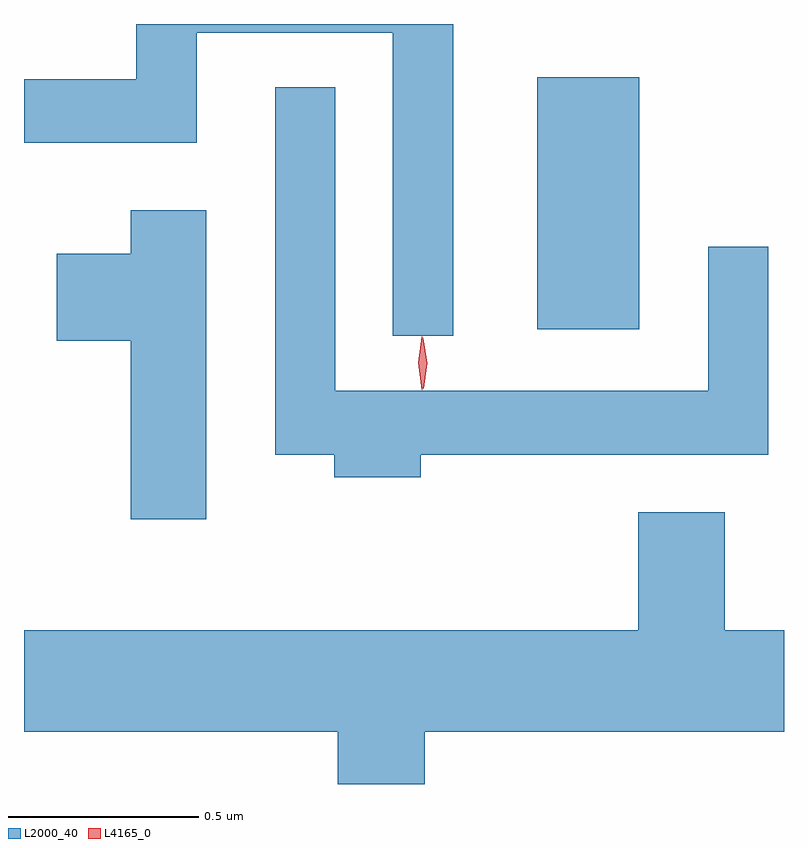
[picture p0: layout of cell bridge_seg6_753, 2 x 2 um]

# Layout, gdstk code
import gdstk
lib = gdstk.Library(unit=1e-6, precision=1e-09)
def R(c, l, rs):  # rectangles x0, y0, x1, y1
    for r in rs: c.add(gdstk.rectangle(r[:2], r[2:], *l))
def P(c, l, *ps):  # polygons
    for p in ps: c.add(gdstk.Polygon(p, *l))
L2000_40 = (2000, 40)
L4165_0 = (4165, 0)

bridge_seg6_753 = lib.new_cell('bridge_seg6_753')
R(bridge_seg6_753, L2000_40, [(549.366,1593.276,549.634,1593.939)])
P(bridge_seg6_753, L2000_40, [(549.144,1594.079),(548.311,1594.079),(548.311,1593.934),(548.015,1593.934),(548.015,1593.766),(548.469,1593.766),(548.469,1594.056),(548.986,1594.056),(548.986,1593.258),(549.144,1593.258)],
  [(549.059,1592.946),(549.974,1592.946),(549.974,1593.493),(549.816,1593.493),(549.816,1593.114),(548.834,1593.114),(548.834,1593.913),(548.676,1593.913),(548.676,1592.946),(548.831,1592.946),(548.831,1592.886),(549.059,1592.886)],
  [(548.494,1593.589),(548.296,1593.589),(548.296,1593.474),(548.101,1593.474),(548.101,1593.246),(548.296,1593.246),(548.296,1592.776),(548.494,1592.776)],
  [(549.069,1592.216),(550.015,1592.216),(550.015,1592.484),(549.859,1592.484),(549.859,1592.794),(549.631,1592.794),(549.631,1592.484),(548.015,1592.484),(548.015,1592.216),(548.841,1592.216),(548.841,1592.079),(549.069,1592.079)])
P(bridge_seg6_753, L4165_0, [(549.066,1593.119),(549.066,1593.12),(549.056,1593.186),(549.066,1593.252),(549.066,1593.253),(549.066,1593.252),(549.076,1593.186),(549.067,1593.12)],
  [(549.062,1593.117),(549.053,1593.187),(549.062,1593.256),(549.063,1593.256),(549.063,1593.256),(549.073,1593.187),(549.063,1593.117),(549.063,1593.117)])

lib.write_gds('bridge_seg6_753.gds')
